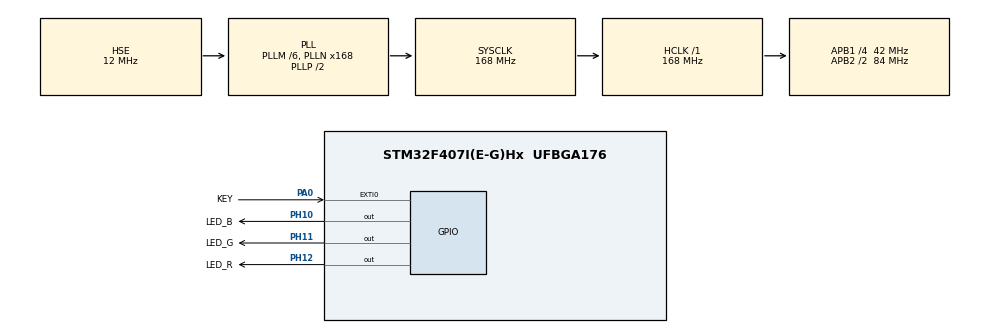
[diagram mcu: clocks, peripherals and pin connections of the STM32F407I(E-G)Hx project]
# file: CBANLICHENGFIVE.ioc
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Mcu.Family=STM32F4
Mcu.Name=STM32F407I(E-G)Hx
Mcu.Package=UFBGA176
NVIC.EXTI0_IRQn=true\:0\:0\:false\:false\:true\:true\:true\:true
NVIC.PriorityGroup=NVIC_PRIORITYGROUP_4
PA0-WKUP.GPIO_Label=KEY
PA0-WKUP.GPIO_PuPd=GPIO_PULLUP
PA0-WKUP.Signal=GPXTI0
PA13.Mode=Serial_Wire
PA13.Signal=SYS_JTMS-SWDIO
PA14.Mode=Serial_Wire
PA14.Signal=SYS_JTCK-SWCLK
PH0-OSC_IN.Mode=HSE-External-Oscillator
PH0-OSC_IN.Signal=RCC_OSC_IN
PH1-OSC_OUT.Mode=HSE-External-Oscillator
PH1-OSC_OUT.Signal=RCC_OSC_OUT
PH10.GPIO_Label=LED_B
PH10.GPIO_PuPd=GPIO_PULLUP
PH10.PinState=GPIO_PIN_SET
PH10.Signal=GPIO_Output
PH11.GPIO_Label=LED_G
PH11.GPIO_PuPd=GPIO_PULLUP
PH11.PinState=GPIO_PIN_SET
PH11.Signal=GPIO_Output
PH12.GPIO_Label=LED_R
PH12.GPIO_PuPd=GPIO_PULLUP
PH12.PinState=GPIO_PIN_SET
PH12.Signal=GPIO_Output
ProjectManager.HeapSize=0x200
ProjectManager.StackSize=0x400
ProjectManager.TargetToolchain=MDK-ARM V5.32
RCC.48MHZClocksFreq_Value=84000000
RCC.AHBFreq_Value=168000000
RCC.APB1CLKDivider=RCC_HCLK_DIV4
RCC.APB1Freq_Value=42000000
RCC.APB1TimFreq_Value=84000000
RCC.APB2CLKDivider=RCC_HCLK_DIV2
RCC.APB2Freq_Value=84000000
RCC.APB2TimFreq_Value=168000000
RCC.CortexFreq_Value=168000000
RCC.HCLKFreq_Value=168000000
RCC.HSE_VALUE=12000000
RCC.HSI_VALUE=16000000
RCC.LSE_VALUE=32768
RCC.PLLM=6
RCC.PLLN=168
RCC.PLLSourceVirtual=RCC_PLLSOURCE_HSE
RCC.SYSCLKFreq_VALUE=168000000
RCC.SYSCLKSource=RCC_SYSCLKSOURCE_PLLCLK
RCC.VCOOutputFreq_Value=336000000
board=custom

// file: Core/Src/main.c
/* USER CODE BEGIN Header */
/**
  ******************************************************************************
  * @file           : main.c
  * @brief          : Main program body
  ******************************************************************************
  * @attention
  *
  * Copyright (c) 2025 STMicroelectronics.
  * All rights reserved.
  *
  * This software is licensed under terms that can be found in the LICENSE file
  * in the root directory of this software component.
  * If no LICENSE file comes with this software, it is provided AS-IS.
  *
  ******************************************************************************
  */
/* USER CODE END Header */
#include "main.h"
#include "gpio.h"

void SystemClock_Config(void);

/* USER CODE BEGIN 0 */
//��̨���
uint8_t exit_flag = 0;
uint8_t rising_falling_flag;

/**
  * @brief          exit callback function
  * @param[in]      GPIO_Pin:gpio pin
  * @retval         none
  */
/**
  * @brief          外部中断回调
  * @param[in]      GPIO_Pin:引脚号
  * @retval         none
  */
void HAL_GPIO_EXTI_Callback(uint16_t GPIO_pin)
{
    if(GPIO_pin == KEY_Pin)
    {
        if(exit_flag == 0)
        {
            exit_flag = 1;
            rising_falling_flag = HAL_GPIO_ReadPin(KEY_GPIO_Port, KEY_Pin);
        }
    }
}

/* USER CODE END 0 */

int main(void)
{

  /* MCU Configuration--------------------------------------------------------*/

  /* Reset of all peripherals, Initializes the Flash interface and the Systick. */
  HAL_Init();

  /* Configure the system clock */
  SystemClock_Config();

  /* Initialize all configured peripherals */
  MX_GPIO_Init();
  /* USER CODE BEGIN 2 */

  //�ر�led��
  HAL_GPIO_WritePin(LED_R_GPIO_Port,LED_R_Pin,GPIO_PIN_RESET);
  HAL_GPIO_WritePin(LED_G_GPIO_Port,LED_G_Pin,GPIO_PIN_RESET);
  HAL_GPIO_WritePin(LED_B_GPIO_Port,LED_B_Pin,GPIO_PIN_RESET);

  /* USER CODE END 2 */

  /* Infinite loop */
  while (1)
  {

    /* USER CODE BEGIN 3 */

      //ǰ̨���� froeground program
      if(exit_flag == 1)
      {
          exit_flag = 2;
          if(rising_falling_flag == GPIO_PIN_RESET)
          {
              //��ʱ20ms����
              HAL_Delay(20);
              //�ٴζ�ȡȷ�ϵ͵�ƽ
              if(HAL_GPIO_ReadPin(KEY_GPIO_Port,KEY_Pin) == GPIO_PIN_RESET)
              {
                  HAL_GPIO_WritePin(LED_G_GPIO_Port,LED_G_Pin,GPIO_PIN_SET);
                  exit_flag = 0;
              }
              else
              {
                  exit_flag = 0;
              }
          }
          else if(rising_falling_flag == GPIO_PIN_SET)
          {
              //��ʱ20ms����
              HAL_Delay(20);
                if(HAL_GPIO_ReadPin(KEY_GPIO_Port, KEY_Pin) == GPIO_PIN_SET)
                {
                    HAL_GPIO_WritePin(LED_G_GPIO_Port, LED_G_Pin, GPIO_PIN_RESET);
                    exit_flag = 0;
                }
                else
                {
                    exit_flag = 0;
                }
            }

        }
  }

  /* USER CODE END 3 */
}

void SystemClock_Config(void)
{
  RCC_OscInitTypeDef RCC_OscInitStruct = {0};
  RCC_ClkInitTypeDef RCC_ClkInitStruct = {0};

  /** Configure the main internal regulator output voltage
  */
  __HAL_RCC_PWR_CLK_ENABLE();
  __HAL_PWR_VOLTAGESCALING_CONFIG(PWR_REGULATOR_VOLTAGE_SCALE1);

  /** Initializes the RCC Oscillators according to the specified parameters
  * in the RCC_OscInitTypeDef structure.
  */
  RCC_OscInitStruct.OscillatorType = RCC_OSCILLATORTYPE_HSE;
  RCC_OscInitStruct.HSEState = RCC_HSE_ON;
  RCC_OscInitStruct.PLL.PLLState = RCC_PLL_ON;
  RCC_OscInitStruct.PLL.PLLSource = RCC_PLLSOURCE_HSE;
  RCC_OscInitStruct.PLL.PLLM = 6;
  RCC_OscInitStruct.PLL.PLLN = 168;
  RCC_OscInitStruct.PLL.PLLP = RCC_PLLP_DIV2;
  RCC_OscInitStruct.PLL.PLLQ = 4;
  if (HAL_RCC_OscConfig(&RCC_OscInitStruct) != HAL_OK)
  {
    Error_Handler();
  }

  /** Initializes the CPU, AHB and APB buses clocks
  */
  RCC_ClkInitStruct.ClockType = RCC_CLOCKTYPE_HCLK|RCC_CLOCKTYPE_SYSCLK
                              |RCC_CLOCKTYPE_PCLK1|RCC_CLOCKTYPE_PCLK2;
  RCC_ClkInitStruct.SYSCLKSource = RCC_SYSCLKSOURCE_PLLCLK;
  RCC_ClkInitStruct.AHBCLKDivider = RCC_SYSCLK_DIV1;
  RCC_ClkInitStruct.APB1CLKDivider = RCC_HCLK_DIV4;
  RCC_ClkInitStruct.APB2CLKDivider = RCC_HCLK_DIV2;

  if (HAL_RCC_ClockConfig(&RCC_ClkInitStruct, FLASH_LATENCY_5) != HAL_OK)
  {
    Error_Handler();
  }
}

void Error_Handler(void)
{
  __disable_irq();
  while (1)
  {
  }
}
